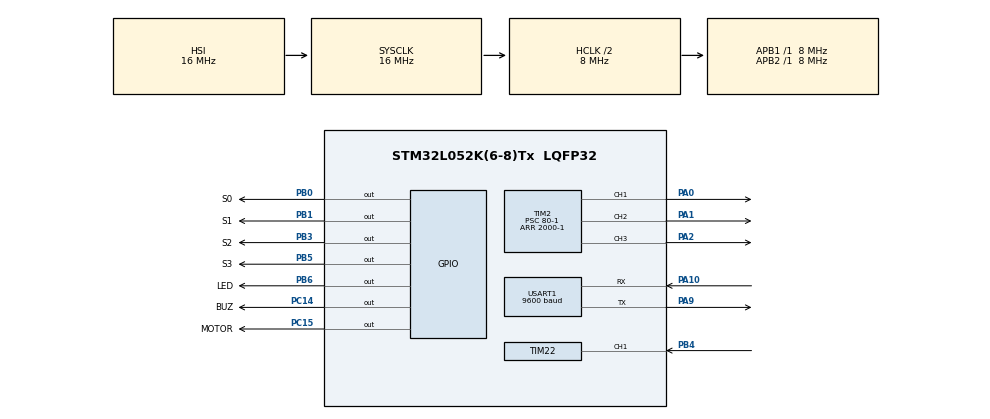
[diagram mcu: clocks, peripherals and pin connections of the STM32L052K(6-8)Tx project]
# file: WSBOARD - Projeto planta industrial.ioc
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Mcu.Family=STM32L0
Mcu.Name=STM32L052K(6-8)Tx
Mcu.Package=LQFP32
NVIC.TIM22_IRQn=true\:0\:0\:false\:false\:true\:true\:true\:true
PA0.Signal=S_TIM2_CH1
PA1.Signal=S_TIM2_CH2
PA10.Mode=Asynchronous
PA10.Signal=USART1_RX
PA2.Signal=S_TIM2_CH3
PA9.Mode=Asynchronous
PA9.Signal=USART1_TX
PB0.GPIO_Label=S0
PB0.Signal=GPIO_Output
PB1.GPIO_Label=S1
PB1.Signal=GPIO_Output
PB3.GPIO_Label=S2
PB3.Signal=GPIO_Output
PB4.Signal=S_TIM22_CH1
PB5.GPIO_Label=S3
PB5.Signal=GPIO_Output
PB6.GPIO_Label=LED
PB6.Signal=GPIO_Output
PC14-OSC32_IN.GPIO_Label=BUZ
PC14-OSC32_IN.Signal=GPIO_Output
PC15-OSC32_OUT.GPIO_Label=MOTOR
PC15-OSC32_OUT.Signal=GPIO_Output
ProjectManager.HeapSize=0x200
ProjectManager.StackSize=0x400
ProjectManager.TargetToolchain=STM32CubeIDE
RCC.AHBCLKDivider=RCC_SYSCLK_DIV2
RCC.AHBFreq_Value=8000000
RCC.APB1Freq_Value=8000000
RCC.APB1TimFreq_Value=8000000
RCC.APB2Freq_Value=8000000
RCC.APB2TimFreq_Value=8000000
RCC.HCLKFreq_Value=8000000
RCC.HSI16_VALUE=16000000
RCC.HSI48_VALUE=48000000
RCC.HSI_VALUE=16000000
RCC.LSE_VALUE=32768
RCC.MSI_VALUE=2097000
RCC.SYSCLKFreq_VALUE=16000000
RCC.SYSCLKSource=RCC_SYSCLKSOURCE_HSI
RCC.VCOOutputFreq_Value=48000000
SH.S_TIM22_CH1.0=TIM22_CH1,Input_Capture1_from_TI1
SH.S_TIM2_CH1.0=TIM2_CH1,PWM Generation1 CH1
SH.S_TIM2_CH2.0=TIM2_CH2,PWM Generation2 CH2
SH.S_TIM2_CH3.0=TIM2_CH3,PWM Generation3 CH3
TIM2.AutoReloadPreload=TIM_AUTORELOAD_PRELOAD_ENABLE
TIM2.Channel-PWM\ Generation1\ CH1=TIM_CHANNEL_1
TIM2.Channel-PWM\ Generation2\ CH2=TIM_CHANNEL_2
TIM2.Channel-PWM\ Generation3\ CH3=TIM_CHANNEL_3
TIM2.Period=2000-1
TIM2.Prescaler=80-1
TIM22.Channel-Input_Capture1_from_TI1=TIM_CHANNEL_1
TIM22.ICPolarity_CH1=TIM_INPUTCHANNELPOLARITY_BOTHEDGE
TIM22.Prescaler=8-1
USART1.BaudRate=9600
USART1.VirtualMode-Asynchronous=VM_ASYNC
board=custom

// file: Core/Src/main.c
/* USER CODE BEGIN Header */
/**
  ******************************************************************************
  * @file           : main.c
  * @brief          : Main program body
  ******************************************************************************
  * @attention
  *
  * Copyright (c) 2025 STMicroelectronics.
  * All rights reserved.
  *
  * This software is licensed under terms that can be found in the LICENSE file
  * in the root directory of this software component.
  * If no LICENSE file comes with this software, it is provided AS-IS.
  *
  ******************************************************************************
  */
/* USER CODE END Header */
#include "main.h"

/* USER CODE BEGIN Includes */
#include "stdio.h"
#include "string.h"
/* USER CODE END Includes */

/* USER CODE BEGIN PTD */
typedef enum{
	FIRST_SERVO,
	SECOND_SERVO,
	TIRD_SERVO
}Servo_Typedef;

typedef enum{
	WHITE,
	RED,
	GREEN,
	BLUE
}LIGHT_Color_Typedef;

typedef enum{
	FIRST_CAPTURE,
	SECOND_CAPTURE
}LIGHT_State_Typedef;

typedef struct{
	LIGHT_State_Typedef State;
	LIGHT_Color_Typedef Color;
	uint32_t FirstGetter, SecondGetter, Delta;
	float Frequency;
}LIGHT_Control_Typedef;

/* USER CODE END PTD */

/* USER CODE BEGIN PD */
#define ZERO 150
#define SELECT 80

#define CLK 8000000
#define N_SAMPLES 200
/* USER CODE END PD */

TIM_HandleTypeDef htim2;
TIM_HandleTypeDef htim22;

UART_HandleTypeDef huart1;

/* USER CODE BEGIN PV */
LIGHT_Control_Typedef Readder;
uint8_t flagRed, flagGreen, flagBlue, flagWhite, indice;

float freqBuffer[N_SAMPLES];
uint8_t freqIndex = 0;
uint32_t Frequency;
/* USER CODE END PV */

void SystemClock_Config(void);
static void MX_GPIO_Init(void);
static void MX_TIM2_Init(void);
static void MX_TIM22_Init(void);
static void MX_USART1_UART_Init(void);
/* USER CODE BEGIN PFP */
void SERVO_Control(uint32_t state, Servo_Typedef servo){
	switch(servo){
		case FIRST_SERVO:
			TIM2->CCR1 = state;
			break;

		case SECOND_SERVO:
			TIM2->CCR2 = state;
			break;

		case TIRD_SERVO:
			TIM2->CCR3 = state;
			break;
	}
}

void LIGHT_StartUp(void){
	HAL_GPIO_WritePin(S0_GPIO_Port, S0_Pin, GPIO_PIN_RESET);
	HAL_GPIO_WritePin(S1_GPIO_Port, S1_Pin, GPIO_PIN_SET);
}

void TFT_SendCommand(char *cmd){
    char buffer[50];
    sprintf(buffer, "%s%c%c%c", cmd, 0xFF, 0xFF, 0xFF);
    HAL_UART_Transmit(&huart1, (uint8_t*)buffer, strlen(buffer), HAL_MAX_DELAY);
}

void LIGHT_VerifyColor(void){
	if(Frequency > 5900 && Frequency < 6600) {
		Readder.Color = RED;
		flagRed = 1;
		flagGreen = 0;
		flagBlue = 0;
	}
	else if(Frequency > 5000 && Frequency < 5500) {
		Readder.Color = GREEN;
		flagRed = 0;
		flagGreen = 1;
		flagBlue = 0;
	}
	else if(Frequency > 3500 && Frequency < 4200){
		Readder.Color = BLUE;
		flagRed = 0;
		flagGreen = 0;
		flagBlue = 1;

	}

	if (Frequency > 7000 || Frequency < 2850){
		Readder.Color = WHITE;
		flagWhite = 1;
		flagRed = 0;
		flagGreen = 0;
		flagBlue = 0;
	}
}

void AddFrequencySample(float newFreq){
    freqBuffer[freqIndex++] = newFreq;
    if(freqIndex >= N_SAMPLES) freqIndex = 0;
}

float GetFrequencyAverage(void){
    float sum = 0;
    for(int i = 0; i < N_SAMPLES; i++) sum += freqBuffer[i];
    return sum / N_SAMPLES;
}

void SERVO_Interpreter(void){
	if(flagRed) {
	  SERVO_Control(SELECT, FIRST_SERVO);
	  SERVO_Control(ZERO, SECOND_SERVO);
	  SERVO_Control(ZERO, TIRD_SERVO);
	}

	else if(flagGreen) {
	  SERVO_Control(ZERO, FIRST_SERVO);
	  SERVO_Control(SELECT, SECOND_SERVO);
	  SERVO_Control(ZERO, TIRD_SERVO);
	}

	else if(flagBlue) {
	  SERVO_Control(ZERO, FIRST_SERVO);
	  SERVO_Control(ZERO, SECOND_SERVO);
	  SERVO_Control(SELECT - 20, TIRD_SERVO);
	}

	else if(flagWhite){
	  SERVO_Control(ZERO, FIRST_SERVO);
	  SERVO_Control(ZERO, SECOND_SERVO);
	  SERVO_Control(ZERO, TIRD_SERVO);
	}
}

void HAL_TIM_IC_CaptureCallback(TIM_HandleTypeDef *htim){
	if(htim == &htim22){
		if(Readder.State == FIRST_CAPTURE){
			Readder.FirstGetter = HAL_TIM_ReadCapturedValue(htim, TIM_CHANNEL_1);
			Readder.State = SECOND_CAPTURE;
			__HAL_TIM_SET_CAPTUREPOLARITY(htim, TIM_CHANNEL_1, TIM_INPUTCHANNELPOLARITY_FALLING);
		}

		else {
			Readder.SecondGetter = HAL_TIM_ReadCapturedValue(htim, TIM_CHANNEL_1);

			if(Readder.FirstGetter > Readder.SecondGetter){
				Readder.Delta = (0xFFFF - Readder.FirstGetter) + Readder.SecondGetter;
			}

			else Readder.Delta = Readder.SecondGetter - Readder.FirstGetter;
			Readder.Frequency = CLK / Readder.Delta;

			AddFrequencySample(Readder.Frequency);
			Frequency = GetFrequencyAverage();

			Readder.State = FIRST_CAPTURE;
			__HAL_TIM_SET_CAPTUREPOLARITY(htim, TIM_CHANNEL_1, TIM_INPUTCHANNELPOLARITY_RISING);
		}
	}
}

/* USER CODE END PFP */

int main(void)
{

  /* MCU Configuration--------------------------------------------------------*/

  /* Reset of all peripherals, Initializes the Flash interface and the Systick. */
  HAL_Init();

  /* Configure the system clock */
  SystemClock_Config();

  /* Initialize all configured peripherals */
  MX_GPIO_Init();
  MX_TIM2_Init();
  MX_TIM22_Init();
  MX_USART1_UART_Init();
  /* USER CODE BEGIN 2 */
  HAL_Delay(1000);
  HAL_TIM_PWM_Start(&htim2, TIM_CHANNEL_1);
  HAL_TIM_PWM_Start(&htim2, TIM_CHANNEL_2);
  HAL_TIM_PWM_Start(&htim2, TIM_CHANNEL_3);

  HAL_TIM_IC_Start_IT(&htim22, TIM_CHANNEL_1);

  HAL_GPIO_WritePin(BUZ_GPIO_Port, BUZ_Pin, GPIO_PIN_SET);
  HAL_GPIO_WritePin(LED_GPIO_Port, LED_Pin, GPIO_PIN_SET);
  SERVO_Control(SELECT, FIRST_SERVO);
  SERVO_Control(SELECT, SECOND_SERVO);
  SERVO_Control(SELECT, TIRD_SERVO);
  HAL_Delay(100);
  HAL_GPIO_WritePin(LED_GPIO_Port, LED_Pin, GPIO_PIN_RESET);
  HAL_GPIO_WritePin(BUZ_GPIO_Port, BUZ_Pin, GPIO_PIN_RESET);
  HAL_Delay(100);
  HAL_GPIO_WritePin(BUZ_GPIO_Port, BUZ_Pin, GPIO_PIN_SET);
  HAL_GPIO_WritePin(LED_GPIO_Port, LED_Pin, GPIO_PIN_SET);
  HAL_Delay(100);
  HAL_GPIO_WritePin(BUZ_GPIO_Port, BUZ_Pin, GPIO_PIN_RESET);
  SERVO_Control(ZERO, FIRST_SERVO);
  SERVO_Control(ZERO, SECOND_SERVO);
  SERVO_Control(ZERO, TIRD_SERVO);

  LIGHT_StartUp();

  HAL_GPIO_WritePin(MOTOR_GPIO_Port, MOTOR_Pin, GPIO_PIN_SET);

  TFT_SendCommand("page 2");

  /* USER CODE END 2 */

  /* Infinite loop */
  /* USER CODE BEGIN WHILE */
  while (1) {
	  LIGHT_VerifyColor();
	  SERVO_Interpreter();

    /* USER CODE END WHILE */

  }
}

void SystemClock_Config(void)
{
  RCC_OscInitTypeDef RCC_OscInitStruct = {0};
  RCC_ClkInitTypeDef RCC_ClkInitStruct = {0};
  RCC_PeriphCLKInitTypeDef PeriphClkInit = {0};

  /** Configure the main internal regulator output voltage
  */
  __HAL_PWR_VOLTAGESCALING_CONFIG(PWR_REGULATOR_VOLTAGE_SCALE1);

  /** Initializes the RCC Oscillators according to the specified parameters
  * in the RCC_OscInitTypeDef structure.
  */
  RCC_OscInitStruct.OscillatorType = RCC_OSCILLATORTYPE_HSI;
  RCC_OscInitStruct.HSIState = RCC_HSI_ON;
  RCC_OscInitStruct.HSICalibrationValue = RCC_HSICALIBRATION_DEFAULT;
  RCC_OscInitStruct.PLL.PLLState = RCC_PLL_NONE;
  if (HAL_RCC_OscConfig(&RCC_OscInitStruct) != HAL_OK)
  {
    Error_Handler();
  }

  /** Initializes the CPU, AHB and APB buses clocks
  */
  RCC_ClkInitStruct.ClockType = RCC_CLOCKTYPE_HCLK|RCC_CLOCKTYPE_SYSCLK
                              |RCC_CLOCKTYPE_PCLK1|RCC_CLOCKTYPE_PCLK2;
  RCC_ClkInitStruct.SYSCLKSource = RCC_SYSCLKSOURCE_HSI;
  RCC_ClkInitStruct.AHBCLKDivider = RCC_SYSCLK_DIV2;
  RCC_ClkInitStruct.APB1CLKDivider = RCC_HCLK_DIV1;
  RCC_ClkInitStruct.APB2CLKDivider = RCC_HCLK_DIV1;

  if (HAL_RCC_ClockConfig(&RCC_ClkInitStruct, FLASH_LATENCY_0) != HAL_OK)
  {
    Error_Handler();
  }
  PeriphClkInit.PeriphClockSelection = RCC_PERIPHCLK_USART1;
  PeriphClkInit.Usart1ClockSelection = RCC_USART1CLKSOURCE_PCLK2;
  if (HAL_RCCEx_PeriphCLKConfig(&PeriphClkInit) != HAL_OK)
  {
    Error_Handler();
  }
}

static void MX_TIM2_Init(void)
{

  TIM_MasterConfigTypeDef sMasterConfig = {0};
  TIM_OC_InitTypeDef sConfigOC = {0};

  htim2.Instance = TIM2;
  htim2.Init.Prescaler = 80-1;
  htim2.Init.CounterMode = TIM_COUNTERMODE_UP;
  htim2.Init.Period = 2000-1;
  htim2.Init.ClockDivision = TIM_CLOCKDIVISION_DIV1;
  htim2.Init.AutoReloadPreload = TIM_AUTORELOAD_PRELOAD_ENABLE;
  if (HAL_TIM_PWM_Init(&htim2) != HAL_OK)
  {
    Error_Handler();
  }
  sMasterConfig.MasterOutputTrigger = TIM_TRGO_RESET;
  sMasterConfig.MasterSlaveMode = TIM_MASTERSLAVEMODE_DISABLE;
  if (HAL_TIMEx_MasterConfigSynchronization(&htim2, &sMasterConfig) != HAL_OK)
  {
    Error_Handler();
  }
  sConfigOC.OCMode = TIM_OCMODE_PWM1;
  sConfigOC.Pulse = 0;
  sConfigOC.OCPolarity = TIM_OCPOLARITY_HIGH;
  sConfigOC.OCFastMode = TIM_OCFAST_DISABLE;
  if (HAL_TIM_PWM_ConfigChannel(&htim2, &sConfigOC, TIM_CHANNEL_1) != HAL_OK)
  {
    Error_Handler();
  }
  if (HAL_TIM_PWM_ConfigChannel(&htim2, &sConfigOC, TIM_CHANNEL_2) != HAL_OK)
  {
    Error_Handler();
  }
  if (HAL_TIM_PWM_ConfigChannel(&htim2, &sConfigOC, TIM_CHANNEL_3) != HAL_OK)
  {
    Error_Handler();
  }
  HAL_TIM_MspPostInit(&htim2);

}

static void MX_TIM22_Init(void)
{

  TIM_MasterConfigTypeDef sMasterConfig = {0};
  TIM_IC_InitTypeDef sConfigIC = {0};

  htim22.Instance = TIM22;
  htim22.Init.Prescaler = 8-1;
  htim22.Init.CounterMode = TIM_COUNTERMODE_UP;
  htim22.Init.Period = 65535;
  htim22.Init.ClockDivision = TIM_CLOCKDIVISION_DIV1;
  htim22.Init.AutoReloadPreload = TIM_AUTORELOAD_PRELOAD_DISABLE;
  if (HAL_TIM_IC_Init(&htim22) != HAL_OK)
  {
    Error_Handler();
  }
  sMasterConfig.MasterOutputTrigger = TIM_TRGO_RESET;
  sMasterConfig.MasterSlaveMode = TIM_MASTERSLAVEMODE_DISABLE;
  if (HAL_TIMEx_MasterConfigSynchronization(&htim22, &sMasterConfig) != HAL_OK)
  {
    Error_Handler();
  }
  sConfigIC.ICPolarity = TIM_INPUTCHANNELPOLARITY_BOTHEDGE;
  sConfigIC.ICSelection = TIM_ICSELECTION_DIRECTTI;
  sConfigIC.ICPrescaler = TIM_ICPSC_DIV1;
  sConfigIC.ICFilter = 0;
  if (HAL_TIM_IC_ConfigChannel(&htim22, &sConfigIC, TIM_CHANNEL_1) != HAL_OK)
  {
    Error_Handler();
  }

}

static void MX_USART1_UART_Init(void)
{

  huart1.Instance = USART1;
  huart1.Init.BaudRate = 9600;
  huart1.Init.WordLength = UART_WORDLENGTH_8B;
  huart1.Init.StopBits = UART_STOPBITS_1;
  huart1.Init.Parity = UART_PARITY_NONE;
  huart1.Init.Mode = UART_MODE_TX_RX;
  huart1.Init.HwFlowCtl = UART_HWCONTROL_NONE;
  huart1.Init.OverSampling = UART_OVERSAMPLING_16;
  huart1.Init.OneBitSampling = UART_ONE_BIT_SAMPLE_DISABLE;
  huart1.AdvancedInit.AdvFeatureInit = UART_ADVFEATURE_NO_INIT;
  if (HAL_UART_Init(&huart1) != HAL_OK)
  {
    Error_Handler();
  }

}

static void MX_GPIO_Init(void)
{
  GPIO_InitTypeDef GPIO_InitStruct = {0};

  /* GPIO Ports Clock Enable */
  __HAL_RCC_GPIOC_CLK_ENABLE();
  __HAL_RCC_GPIOA_CLK_ENABLE();
  __HAL_RCC_GPIOB_CLK_ENABLE();

  /*Configure GPIO pin Output Level */
  HAL_GPIO_WritePin(GPIOC, BUZ_Pin|MOTOR_Pin, GPIO_PIN_RESET);

  /*Configure GPIO pin Output Level */
  HAL_GPIO_WritePin(GPIOB, S0_Pin|S1_Pin|S2_Pin|S3_Pin
                          |LED_Pin, GPIO_PIN_RESET);

  /*Configure GPIO pins : BUZ_Pin MOTOR_Pin */
  GPIO_InitStruct.Pin = BUZ_Pin|MOTOR_Pin;
  GPIO_InitStruct.Mode = GPIO_MODE_OUTPUT_PP;
  GPIO_InitStruct.Pull = GPIO_NOPULL;
  GPIO_InitStruct.Speed = GPIO_SPEED_FREQ_LOW;
  HAL_GPIO_Init(GPIOC, &GPIO_InitStruct);

  /*Configure GPIO pins : S0_Pin S1_Pin S2_Pin S3_Pin
                           LED_Pin */
  GPIO_InitStruct.Pin = S0_Pin|S1_Pin|S2_Pin|S3_Pin
                          |LED_Pin;
  GPIO_InitStruct.Mode = GPIO_MODE_OUTPUT_PP;
  GPIO_InitStruct.Pull = GPIO_NOPULL;
  GPIO_InitStruct.Speed = GPIO_SPEED_FREQ_LOW;
  HAL_GPIO_Init(GPIOB, &GPIO_InitStruct);

}

void Error_Handler(void)
{
  __disable_irq();
  while (1)
  {
  }
}
